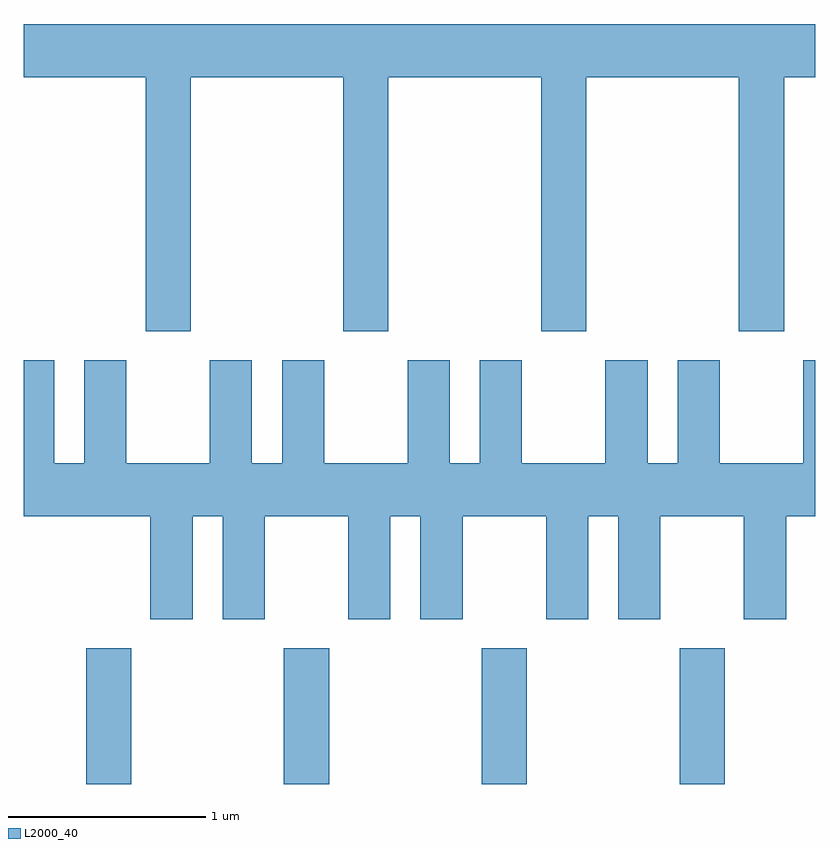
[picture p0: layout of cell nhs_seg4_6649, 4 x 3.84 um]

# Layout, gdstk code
import gdstk
lib = gdstk.Library(unit=1e-6, precision=1e-09)
def R(c, l, rs):  # rectangles x0, y0, x1, y1
    for r in rs: c.add(gdstk.rectangle(r[:2], r[2:], *l))
def A(c, l, x, y, w, h, nx, ny, dx, dy):  # array of equal rectangles
    R(c, l, [(x+i*dx, y+j*dy, x+i*dx+w, y+j*dy+h) for i in range(nx) for j in range(ny)])
def P(c, l, *ps):  # polygons
    for p in ps: c.add(gdstk.Polygon(p, *l))
L2000_40 = (2000, 40)

nhs_seg4_6649 = lib.new_cell('nhs_seg4_6649')
A(nhs_seg4_6649, L2000_40, 379.926, 1359.982, 0.228, 0.687, 4, 1, 1, 0)
P(nhs_seg4_6649, L2000_40, [(380.454,1363.556),(381.226,1363.556),(381.226,1362.271),(381.454,1362.271),(381.454,1363.556),(382.226,1363.556),(382.226,1362.271),(382.454,1362.271),(382.454,1363.556),(383.226,1363.556),(383.226,1362.271),(383.454,1362.271),(383.454,1363.556),(383.611,1363.556),(383.611,1363.824),(379.611,1363.824),(379.611,1363.556),(380.226,1363.556),(380.226,1362.271),(380.454,1362.271)],
  [(383.251,1360.816),(383.464,1360.816),(383.464,1361.336),(383.611,1361.336),(383.611,1362.124),(383.551,1362.124),(383.551,1361.604),(383.129,1361.604),(383.129,1362.124),(382.916,1362.124),(382.916,1361.604),(382.764,1361.604),(382.764,1362.124),(382.551,1362.124),(382.551,1361.604),(382.129,1361.604),(382.129,1362.124),(381.916,1362.124),(381.916,1361.604),(381.764,1361.604),(381.764,1362.124),(381.551,1362.124),(381.551,1361.604),(381.129,1361.604),(381.129,1362.124),(380.916,1362.124),(380.916,1361.604),(380.764,1361.604),(380.764,1362.124),(380.551,1362.124),(380.551,1361.604),(380.129,1361.604),(380.129,1362.124),(379.916,1362.124),(379.916,1361.604),(379.764,1361.604),(379.764,1362.124),(379.611,1362.124),(379.611,1361.336),(380.251,1361.336),(380.251,1360.816),(380.464,1360.816),(380.464,1361.336),(380.616,1361.336),(380.616,1360.816),(380.829,1360.816),(380.829,1361.336),(381.251,1361.336),(381.251,1360.816),(381.464,1360.816),(381.464,1361.336),(381.616,1361.336),(381.616,1360.816),(381.829,1360.816),(381.829,1361.336),(382.251,1361.336),(382.251,1360.816),(382.464,1360.816),(382.464,1361.336),(382.616,1361.336),(382.616,1360.816),(382.829,1360.816),(382.829,1361.336),(383.251,1361.336)])

lib.write_gds('nhs_seg4_6649.gds')
